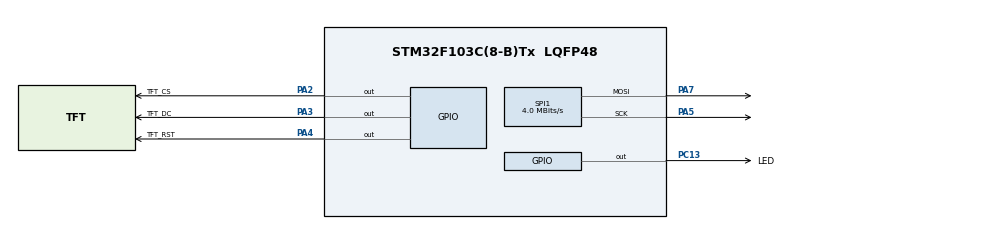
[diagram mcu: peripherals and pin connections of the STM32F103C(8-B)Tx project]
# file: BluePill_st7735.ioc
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Mcu.Family=STM32F1
Mcu.Name=STM32F103C(8-B)Tx
Mcu.Package=LQFP48
NVIC.PriorityGroup=NVIC_PRIORITYGROUP_4
PA13.Mode=Trace_Asynchronous_SW
PA13.Signal=SYS_JTMS-SWDIO
PA14.Mode=Trace_Asynchronous_SW
PA14.Signal=SYS_JTCK-SWCLK
PA2.GPIO_Label=TFT_CS
PA2.Signal=GPIO_Output
PA3.GPIO_Label=TFT_DC
PA3.Signal=GPIO_Output
PA4.GPIO_Label=TFT_RST
PA4.Signal=GPIO_Output
PA5.Mode=TX_Only_Simplex_Unidirect_Master
PA5.Signal=SPI1_SCK
PA7.Mode=TX_Only_Simplex_Unidirect_Master
PA7.Signal=SPI1_MOSI
PB3.Mode=Trace_Asynchronous_SW
PB3.Signal=SYS_JTDO-TRACESWO
PC13-TAMPER-RTC.GPIO_Label=LED
PC13-TAMPER-RTC.Signal=GPIO_Output
PC14-OSC32_IN.Mode=LSE-External-Oscillator
PC14-OSC32_IN.Signal=RCC_OSC32_IN
PC15-OSC32_OUT.Mode=LSE-External-Oscillator
PC15-OSC32_OUT.Signal=RCC_OSC32_OUT
PD0-OSC_IN.Mode=HSE-External-Oscillator
PD0-OSC_IN.Signal=RCC_OSC_IN
PD1-OSC_OUT.Mode=HSE-External-Oscillator
PD1-OSC_OUT.Signal=RCC_OSC_OUT
ProjectManager.HeapSize=0x200
ProjectManager.StackSize=0x400
ProjectManager.TargetToolchain=STM32CubeIDE
RCC.APB1Freq_Value=8000000
RCC.APB2Freq_Value=8000000
SPI1.CalculateBaudRate=4.0 MBits/s
SPI1.Direction=SPI_DIRECTION_2LINES
SPI1.Mode=SPI_MODE_MASTER
SPI1.VirtualType=VM_MASTER
board=custom

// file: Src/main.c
/* USER CODE BEGIN Header */
/**
  ******************************************************************************
  * @file           : main.c
  * @brief          : Main program body
  ******************************************************************************
  * @attention
  *
  * <h2><center>&copy; Copyright (c) 2019 STMicroelectronics.
  * All rights reserved.</center></h2>
  *
  * This software component is licensed by ST under BSD 3-Clause license,
  * the "License"; You may not use this file except in compliance with the
  * License. You may obtain a copy of the License at:
  *                        opensource.org/licenses/BSD-3-Clause
  *
  ******************************************************************************
  */
/* USER CODE END Header */

#include "main.h"

/* USER CODE BEGIN Includes */
#include <stdio.h>
#include "testimg.h"
#include "fonts.h"
#include "st7735.h"
/* USER CODE END Includes */

SPI_HandleTypeDef hspi1;

void SystemClock_Config(void);
static void MX_GPIO_Init(void);
static void MX_SPI1_Init(void);

/* USER CODE BEGIN 0 */
void testlines(uint16_t color) {
	ST7735_FillScreen(ST7735_BLACK);
  for (int16_t x=0; x < ST7735_WIDTH; x+=6) {
	  ST7735_DrawLine(0, 0, x, ST7735_HEIGHT-1, color);
  }
  for (int16_t y=0; y < ST7735_HEIGHT; y+=6) {
	  ST7735_DrawLine(0, 0, ST7735_WIDTH-1, y, color);
  }

  ST7735_FillScreen(ST7735_BLACK);
  for (int16_t x=0; x < ST7735_WIDTH; x+=6) {
	  ST7735_DrawLine(ST7735_WIDTH-1, 0, x, ST7735_HEIGHT-1, color);
  }
  for (int16_t y=0; y < ST7735_HEIGHT; y+=6) {
	  ST7735_DrawLine(ST7735_WIDTH-1, 0, 0, y, color);
  }

  ST7735_FillScreen(ST7735_BLACK);
  for (int16_t x=0; x < ST7735_WIDTH; x+=6) {
	  ST7735_DrawLine(0, ST7735_HEIGHT-1, x, 0, color);
  }
  for (int16_t y=0; y < ST7735_HEIGHT; y+=6) {
	  ST7735_DrawLine(0, ST7735_HEIGHT-1, ST7735_WIDTH-1, y, color);
  }

  ST7735_FillScreen(ST7735_BLACK);
  for (int16_t x=0; x < ST7735_WIDTH; x+=6) {
	  ST7735_DrawLine(ST7735_WIDTH-1, ST7735_HEIGHT-1, x, 0, color);
  }
  for (int16_t y=0; y < ST7735_HEIGHT; y+=6) {
	  ST7735_DrawLine(ST7735_WIDTH-1, ST7735_HEIGHT-1, 0, y, color);
  }
}
/* USER CODE END 0 */

int main(void)
{
  /* USER CODE BEGIN 1 */
//printf("begin\n");
  /* USER CODE END 1 */

  /* MCU Configuration--------------------------------------------------------*/

  /* Reset of all peripherals, Initializes the Flash interface and the Systick. */
  HAL_Init();

  /* Configure the system clock */
  SystemClock_Config();

  /* Initialize all configured peripherals */
  MX_GPIO_Init();
  MX_SPI1_Init();
  /* USER CODE BEGIN 2 */
  ST7735_Init();
  /* USER CODE END 2 */

  /* Infinite loop */
  /* USER CODE BEGIN WHILE */
  while (1)
  {

	HAL_GPIO_TogglePin(LED_GPIO_Port, LED_Pin);
	HAL_Delay(1000);
	  // Check border
	    ST7735_FillScreen(ST7735_BLACK);
	    // line draw test
	    testlines(ST7735_YELLOW);
	    HAL_Delay(500);

	    for(int x = 0; x < ST7735_WIDTH; x++) {
	        ST7735_DrawPixel(x, 0, ST7735_RED);
	        ST7735_DrawPixel(x, ST7735_HEIGHT-1, ST7735_RED);
	    }

	    for(int y = 0; y < ST7735_HEIGHT; y++) {
	        ST7735_DrawPixel(0, y, ST7735_RED);
	        ST7735_DrawPixel(ST7735_WIDTH-1, y, ST7735_RED);
	    }

	    HAL_Delay(3000);

	    // Check fonts
	    ST7735_FillScreen(ST7735_BLACK);
	    ST7735_WriteString(0, 0, "Font_7x10, red on black, lorem ipsum dolor sit amet", Font_7x10, ST7735_RED, ST7735_BLACK);
	    ST7735_WriteString(0, 3*10, "Font_11x18, green, lorem ipsum", Font_11x18, ST7735_GREEN, ST7735_BLACK);
	    ST7735_WriteString(0, 3*10+3*18, "Font_16x26", Font_16x26, ST7735_BLUE, ST7735_BLACK);
	    HAL_Delay(2000);

	    // Check colors
	    ST7735_FillScreen(ST7735_BLACK);
	    ST7735_WriteString(0, 0, "BLACK", Font_11x18, ST7735_WHITE, ST7735_BLACK);
	    HAL_Delay(500);

	    ST7735_FillScreen(ST7735_BLUE);
	    ST7735_WriteString(0, 0, "BLUE", Font_11x18, ST7735_BLACK, ST7735_BLUE);
	    HAL_Delay(500);

	    ST7735_FillScreen(ST7735_RED);
	    ST7735_WriteString(0, 0, "RED", Font_11x18, ST7735_BLACK, ST7735_RED);
	    HAL_Delay(500);

	    ST7735_FillScreen(ST7735_GREEN);
	    ST7735_WriteString(0, 0, "GREEN", Font_11x18, ST7735_BLACK, ST7735_GREEN);
	    HAL_Delay(500);

	    ST7735_FillScreen(ST7735_CYAN);
	    ST7735_WriteString(0, 0, "CYAN", Font_11x18, ST7735_BLACK, ST7735_CYAN);
	    HAL_Delay(500);

	    ST7735_FillScreen(ST7735_MAGENTA);
	    ST7735_WriteString(0, 0, "MAGENTA", Font_11x18, ST7735_BLACK, ST7735_MAGENTA);
	    HAL_Delay(500);

	    ST7735_FillScreen(ST7735_YELLOW);
	    ST7735_WriteString(0, 0, "YELLOW", Font_11x18, ST7735_BLACK, ST7735_YELLOW);
	    HAL_Delay(500);

	    ST7735_FillScreen(ST7735_WHITE);
	    ST7735_WriteString(0, 0, "WHITE", Font_11x18, ST7735_BLACK, ST7735_WHITE);
	    HAL_Delay(500);

//	#ifdef ST7735_IS_128X128
	    // Display test image 128x128
	    ST7735_DrawImage(0, 0, ST7735_WIDTH, ST7735_HEIGHT, (uint16_t*)test_img_128x128);

	/*
	    // Display test image 128x128 pixel by pixel
	    for(int x = 0; x < ST7735_WIDTH; x++) {
	        for(int y = 0; y < ST7735_HEIGHT; y++) {
	            uint16_t color565 = test_img_128x128[y][x];
	            // fix endiness
	            color565 = ((color565 & 0xFF00) >> 8) | ((color565 & 0xFF) << 8);
	            ST7735_DrawPixel(x, y, color565);
	        }
	    }
	*/
	    HAL_Delay(15000);
    /* USER CODE END WHILE */

  }
}

void SystemClock_Config(void)
{
  RCC_OscInitTypeDef RCC_OscInitStruct = {0};
  RCC_ClkInitTypeDef RCC_ClkInitStruct = {0};

  /** Initializes the CPU, AHB and APB busses clocks
  */
  RCC_OscInitStruct.OscillatorType = RCC_OSCILLATORTYPE_HSI;
  RCC_OscInitStruct.HSIState = RCC_HSI_ON;
  RCC_OscInitStruct.HSICalibrationValue = RCC_HSICALIBRATION_DEFAULT;
  RCC_OscInitStruct.PLL.PLLState = RCC_PLL_NONE;
  if (HAL_RCC_OscConfig(&RCC_OscInitStruct) != HAL_OK)
  {
    Error_Handler();
  }
  /** Initializes the CPU, AHB and APB busses clocks
  */
  RCC_ClkInitStruct.ClockType = RCC_CLOCKTYPE_HCLK|RCC_CLOCKTYPE_SYSCLK
                              |RCC_CLOCKTYPE_PCLK1|RCC_CLOCKTYPE_PCLK2;
  RCC_ClkInitStruct.SYSCLKSource = RCC_SYSCLKSOURCE_HSI;
  RCC_ClkInitStruct.AHBCLKDivider = RCC_SYSCLK_DIV1;
  RCC_ClkInitStruct.APB1CLKDivider = RCC_HCLK_DIV1;
  RCC_ClkInitStruct.APB2CLKDivider = RCC_HCLK_DIV1;

  if (HAL_RCC_ClockConfig(&RCC_ClkInitStruct, FLASH_LATENCY_0) != HAL_OK)
  {
    Error_Handler();
  }
}

static void MX_SPI1_Init(void)
{

  /* SPI1 parameter configuration*/
  hspi1.Instance = SPI1;
  hspi1.Init.Mode = SPI_MODE_MASTER;
  hspi1.Init.Direction = SPI_DIRECTION_2LINES;
  hspi1.Init.DataSize = SPI_DATASIZE_8BIT;
  hspi1.Init.CLKPolarity = SPI_POLARITY_LOW;
  hspi1.Init.CLKPhase = SPI_PHASE_1EDGE;
  hspi1.Init.NSS = SPI_NSS_SOFT;
  hspi1.Init.BaudRatePrescaler = SPI_BAUDRATEPRESCALER_2;
  hspi1.Init.FirstBit = SPI_FIRSTBIT_MSB;
  hspi1.Init.TIMode = SPI_TIMODE_DISABLE;
  hspi1.Init.CRCCalculation = SPI_CRCCALCULATION_DISABLE;
  hspi1.Init.CRCPolynomial = 10;
  if (HAL_SPI_Init(&hspi1) != HAL_OK)
  {
    Error_Handler();
  }

}

static void MX_GPIO_Init(void)
{
  GPIO_InitTypeDef GPIO_InitStruct = {0};

  /* GPIO Ports Clock Enable */
  __HAL_RCC_GPIOC_CLK_ENABLE();
  __HAL_RCC_GPIOD_CLK_ENABLE();
  __HAL_RCC_GPIOA_CLK_ENABLE();
  __HAL_RCC_GPIOB_CLK_ENABLE();

  /*Configure GPIO pin Output Level */
  HAL_GPIO_WritePin(LED_GPIO_Port, LED_Pin, GPIO_PIN_RESET);

  /*Configure GPIO pin Output Level */
  HAL_GPIO_WritePin(GPIOA, TFT_CS_Pin|TFT_DC_Pin|TFT_RST_Pin, GPIO_PIN_RESET);

  /*Configure GPIO pin : LED_Pin */
  GPIO_InitStruct.Pin = LED_Pin;
  GPIO_InitStruct.Mode = GPIO_MODE_OUTPUT_PP;
  GPIO_InitStruct.Pull = GPIO_NOPULL;
  GPIO_InitStruct.Speed = GPIO_SPEED_FREQ_LOW;
  HAL_GPIO_Init(LED_GPIO_Port, &GPIO_InitStruct);

  /*Configure GPIO pins : TFT_CS_Pin TFT_DC_Pin TFT_RST_Pin */
  GPIO_InitStruct.Pin = TFT_CS_Pin|TFT_DC_Pin|TFT_RST_Pin;
  GPIO_InitStruct.Mode = GPIO_MODE_OUTPUT_PP;
  GPIO_InitStruct.Pull = GPIO_NOPULL;
  GPIO_InitStruct.Speed = GPIO_SPEED_FREQ_LOW;
  HAL_GPIO_Init(GPIOA, &GPIO_InitStruct);

}

/* USER CODE BEGIN 4 */
//int _write(int file, char *ptr, int len)
//{
//  /* Implement your write code here, this is used by puts and printf for example */
//  int i=0;
//  for(i=0 ; i<len ; i++)
//    ITM_SendChar((*ptr++));
//  return len;
//}
/* USER CODE END 4 */

void Error_Handler(void)
{
}

/************************ (C) COPYRIGHT STMicroelectronics *****END OF FILE****/
